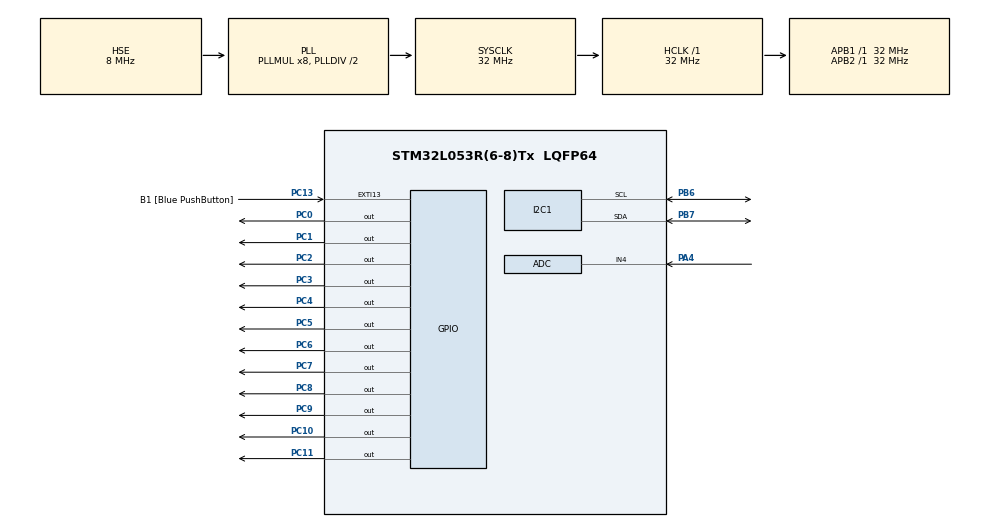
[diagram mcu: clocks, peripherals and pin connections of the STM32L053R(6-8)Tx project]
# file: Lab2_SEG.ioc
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ADC.ContinuousConvMode=ENABLE
ADC.SamplingTime=ADC_SAMPLETIME_79CYCLES_5
I2C1.Timing=0x00707CBB
Mcu.Family=STM32L0
Mcu.Name=STM32L053R(6-8)Tx
Mcu.Package=LQFP64
NVIC.TIM21_IRQn=true\:0\:0\:false\:false\:true\:true\:true\:true
PA13.GPIO_Label=TMS
PA13.Mode=Serial_Wire
PA13.Signal=SYS_SWDIO
PA14.GPIO_Label=TCK
PA14.Mode=Serial_Wire
PA14.Signal=SYS_SWCLK
PA4.Mode=IN4
PA4.Signal=ADC_IN4
PB6.GPIO_Pu=GPIO_PULLUP
PB6.Mode=I2C
PB6.Signal=I2C1_SCL
PB7.GPIO_Pu=GPIO_PULLUP
PB7.Mode=I2C
PB7.Signal=I2C1_SDA
PC0.Signal=GPIO_Output
PC1.Signal=GPIO_Output
PC10.Signal=GPIO_Output
PC11.Signal=GPIO_Output
PC13.GPIO_Label=B1 [Blue PushButton]
PC13.GPIO_ModeDefaultEXTI=GPIO_MODE_IT_FALLING
PC13.Signal=GPXTI13
PC14-OSC32_IN.Mode=LSE-External-Oscillator
PC14-OSC32_IN.Signal=RCC_OSC32_IN
PC15-OSC32_OUT.Mode=LSE-External-Oscillator
PC15-OSC32_OUT.Signal=RCC_OSC32_OUT
PC2.Signal=GPIO_Output
PC3.Signal=GPIO_Output
PC4.Signal=GPIO_Output
PC5.Signal=GPIO_Output
PC6.Signal=GPIO_Output
PC7.Signal=GPIO_Output
PC8.Signal=GPIO_Output
PC9.Signal=GPIO_Output
PH0-OSC_IN.Mode=HSE-External-Oscillator
PH0-OSC_IN.Signal=RCC_OSC_IN
PH1-OSC_OUT.Mode=HSE-External-Oscillator
PH1-OSC_OUT.Signal=RCC_OSC_OUT
ProjectManager.HeapSize=0x200
ProjectManager.StackSize=0x400
ProjectManager.TargetToolchain=MDK-ARM V5.32
RCC.AHBFreq_Value=32000000
RCC.APB1Freq_Value=32000000
RCC.APB1TimFreq_Value=32000000
RCC.APB2Freq_Value=32000000
RCC.APB2TimFreq_Value=32000000
RCC.HCLKFreq_Value=32000000
RCC.HSE_VALUE=8000000
RCC.HSI16_VALUE=16000000
RCC.HSI48_VALUE=48000000
RCC.HSI_VALUE=16000000
RCC.MSI_VALUE=2097000
RCC.PLLMUL=RCC_PLLMUL_8
RCC.PLLSourceVirtual=RCC_PLLSOURCE_HSE
RCC.SYSCLKFreq_VALUE=32000000
RCC.SYSCLKSource=RCC_SYSCLKSOURCE_PLLCLK
RCC.VCOOutputFreq_Value=64000000
TIM21.Period=100-1
TIM21.Prescaler=32-1
VP_TIM21_VS_ClockSourceINT.Mode=Internal
board=NUCLEO-L053R8

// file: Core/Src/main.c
/* USER CODE BEGIN Header */
/**
  ******************************************************************************
  * @file           : main.c
  * @brief          : Main program body
  ******************************************************************************
  * @attention
  *
  * Copyright (c) 2023 STMicroelectronics.
  * All rights reserved.
  *
  * This software is licensed under terms that can be found in the LICENSE file
  * in the root directory of this software component.
  * If no LICENSE file comes with this software, it is provided AS-IS.
  *
  ******************************************************************************
  */
/* USER CODE END Header */
#include "main.h"

/* USER CODE BEGIN Includes */
#include "IIC_1602.h"
#include <stdio.h>
/* USER CODE END Includes */

ADC_HandleTypeDef hadc;

I2C_HandleTypeDef hi2c1;

TIM_HandleTypeDef htim21;

/* USER CODE BEGIN PV */
const uint8_t TBL_7SEG[] = {0x3F,0x06,0x5B,0x4F,0x66,0x6D,0x7D,0x07,0x7F,0x6F};

volatile uint16_t  TimerCnt_Scan,TimerCnt_Lcd ;
uint8_t ScanLine;

uint16_t count1;

/* USER CODE END PV */

void SystemClock_Config(void);
static void MX_GPIO_Init(void);
static void MX_TIM21_Init(void);
static void MX_ADC_Init(void);
static void MX_I2C1_Init(void);

int main(void)
{

  /* MCU Configuration--------------------------------------------------------*/

  /* Reset of all peripherals, Initializes the Flash interface and the Systick. */
  HAL_Init();

  /* Configure the system clock */
  SystemClock_Config();

  /* Initialize all configured peripherals */
  MX_GPIO_Init();
  MX_TIM21_Init();
  MX_ADC_Init();
  MX_I2C1_Init();
  /* USER CODE BEGIN 2 */
	HAL_TIM_Base_Start_IT(&htim21);

	TimerCnt_Lcd  = 0;
	TimerCnt_Scan = 0;
	uint16_t num = 1234;
	ScanLine       = 0;

	HAL_ADCEx_Calibration_Start(&hadc,ADC_SINGLE_ENDED);
	HAL_ADC_Start(&hadc);

	Initialize_LCD(hi2c1);
	clear_LCD();

  /* USER CODE END 2 */

  /* Infinite loop */
  /* USER CODE BEGIN WHILE */
  while (1)
  {

		while(HAL_ADC_PollForConversion(&hadc,0) != HAL_OK);
		uint16_t adc_v = HAL_ADC_GetValue(&hadc);
		float voltage = (adc_v/4096.0)*3.3;
		num = voltage*10;

		if (TimerCnt_Lcd == 0) {

				TimerCnt_Lcd = 2000;

				char str1[20];

				sprintf(str1, "Voltage: %.2f", voltage);

				writes(0x80,str1);

			}
		if (TimerCnt_Scan == 0) {
			TimerCnt_Scan = 5;

			GPIOC->BRR = 0xFFF;

			switch (ScanLine) {
					case 0:
							GPIOC ->BSRR =  0b1110 <<8;  //com1 on
							GPIOC ->BSRR =  TBL_7SEG[num/1000] &0xff;
							ScanLine = 1;
							break;
					case 1:
							GPIOC ->BSRR =  0b1101 <<8;  //com2 on
							GPIOC ->BSRR =  TBL_7SEG[(num/100)%10] &0xff;
							ScanLine = 2;
							break;
					case 2:
							GPIOC ->BSRR =  0b1011 <<8;  //com3 on
							GPIOC ->BSRR =  (TBL_7SEG[(num/10)%10] |0x80) &0xff;

							ScanLine = 3;
							break;
					case 3:
							GPIOC ->BSRR =  0b0111 <<8;  //com4 on
							GPIOC ->BSRR =  TBL_7SEG[num%10] &0xff;

							ScanLine = 0;
							break;
			}

		}

    /* USER CODE END WHILE */

  }
}

void SystemClock_Config(void)
{
  RCC_OscInitTypeDef RCC_OscInitStruct = {0};
  RCC_ClkInitTypeDef RCC_ClkInitStruct = {0};
  RCC_PeriphCLKInitTypeDef PeriphClkInit = {0};

  /** Configure the main internal regulator output voltage
  */
  __HAL_PWR_VOLTAGESCALING_CONFIG(PWR_REGULATOR_VOLTAGE_SCALE1);

  /** Initializes the RCC Oscillators according to the specified parameters
  * in the RCC_OscInitTypeDef structure.
  */
  RCC_OscInitStruct.OscillatorType = RCC_OSCILLATORTYPE_HSE;
  RCC_OscInitStruct.HSEState = RCC_HSE_ON;
  RCC_OscInitStruct.PLL.PLLState = RCC_PLL_ON;
  RCC_OscInitStruct.PLL.PLLSource = RCC_PLLSOURCE_HSE;
  RCC_OscInitStruct.PLL.PLLMUL = RCC_PLLMUL_8;
  RCC_OscInitStruct.PLL.PLLDIV = RCC_PLLDIV_2;
  if (HAL_RCC_OscConfig(&RCC_OscInitStruct) != HAL_OK)
  {
    Error_Handler();
  }

  /** Initializes the CPU, AHB and APB buses clocks
  */
  RCC_ClkInitStruct.ClockType = RCC_CLOCKTYPE_HCLK|RCC_CLOCKTYPE_SYSCLK
                              |RCC_CLOCKTYPE_PCLK1|RCC_CLOCKTYPE_PCLK2;
  RCC_ClkInitStruct.SYSCLKSource = RCC_SYSCLKSOURCE_PLLCLK;
  RCC_ClkInitStruct.AHBCLKDivider = RCC_SYSCLK_DIV1;
  RCC_ClkInitStruct.APB1CLKDivider = RCC_HCLK_DIV1;
  RCC_ClkInitStruct.APB2CLKDivider = RCC_HCLK_DIV1;

  if (HAL_RCC_ClockConfig(&RCC_ClkInitStruct, FLASH_LATENCY_1) != HAL_OK)
  {
    Error_Handler();
  }
  PeriphClkInit.PeriphClockSelection = RCC_PERIPHCLK_I2C1;
  PeriphClkInit.I2c1ClockSelection = RCC_I2C1CLKSOURCE_PCLK1;
  if (HAL_RCCEx_PeriphCLKConfig(&PeriphClkInit) != HAL_OK)
  {
    Error_Handler();
  }
}

static void MX_ADC_Init(void)
{

  ADC_ChannelConfTypeDef sConfig = {0};

  /** Configure the global features of the ADC (Clock, Resolution, Data Alignment and number of conversion)
  */
  hadc.Instance = ADC1;
  hadc.Init.OversamplingMode = DISABLE;
  hadc.Init.ClockPrescaler = ADC_CLOCK_SYNC_PCLK_DIV2;
  hadc.Init.Resolution = ADC_RESOLUTION_12B;
  hadc.Init.SamplingTime = ADC_SAMPLETIME_79CYCLES_5;
  hadc.Init.ScanConvMode = ADC_SCAN_DIRECTION_FORWARD;
  hadc.Init.DataAlign = ADC_DATAALIGN_RIGHT;
  hadc.Init.ContinuousConvMode = ENABLE;
  hadc.Init.DiscontinuousConvMode = DISABLE;
  hadc.Init.ExternalTrigConvEdge = ADC_EXTERNALTRIGCONVEDGE_NONE;
  hadc.Init.ExternalTrigConv = ADC_SOFTWARE_START;
  hadc.Init.DMAContinuousRequests = DISABLE;
  hadc.Init.EOCSelection = ADC_EOC_SINGLE_CONV;
  hadc.Init.Overrun = ADC_OVR_DATA_PRESERVED;
  hadc.Init.LowPowerAutoWait = DISABLE;
  hadc.Init.LowPowerFrequencyMode = DISABLE;
  hadc.Init.LowPowerAutoPowerOff = DISABLE;
  if (HAL_ADC_Init(&hadc) != HAL_OK)
  {
    Error_Handler();
  }

  /** Configure for the selected ADC regular channel to be converted.
  */
  sConfig.Channel = ADC_CHANNEL_4;
  sConfig.Rank = ADC_RANK_CHANNEL_NUMBER;
  if (HAL_ADC_ConfigChannel(&hadc, &sConfig) != HAL_OK)
  {
    Error_Handler();
  }

}

static void MX_I2C1_Init(void)
{

  hi2c1.Instance = I2C1;
  hi2c1.Init.Timing = 0x00707CBB;
  hi2c1.Init.OwnAddress1 = 0;
  hi2c1.Init.AddressingMode = I2C_ADDRESSINGMODE_7BIT;
  hi2c1.Init.DualAddressMode = I2C_DUALADDRESS_DISABLE;
  hi2c1.Init.OwnAddress2 = 0;
  hi2c1.Init.OwnAddress2Masks = I2C_OA2_NOMASK;
  hi2c1.Init.GeneralCallMode = I2C_GENERALCALL_DISABLE;
  hi2c1.Init.NoStretchMode = I2C_NOSTRETCH_DISABLE;
  if (HAL_I2C_Init(&hi2c1) != HAL_OK)
  {
    Error_Handler();
  }

  /** Configure Analogue filter
  */
  if (HAL_I2CEx_ConfigAnalogFilter(&hi2c1, I2C_ANALOGFILTER_ENABLE) != HAL_OK)
  {
    Error_Handler();
  }

  /** Configure Digital filter
  */
  if (HAL_I2CEx_ConfigDigitalFilter(&hi2c1, 0) != HAL_OK)
  {
    Error_Handler();
  }

}

static void MX_TIM21_Init(void)
{

  TIM_ClockConfigTypeDef sClockSourceConfig = {0};
  TIM_MasterConfigTypeDef sMasterConfig = {0};

  htim21.Instance = TIM21;
  htim21.Init.Prescaler = 32-1;
  htim21.Init.CounterMode = TIM_COUNTERMODE_UP;
  htim21.Init.Period = 100-1;
  htim21.Init.ClockDivision = TIM_CLOCKDIVISION_DIV1;
  htim21.Init.AutoReloadPreload = TIM_AUTORELOAD_PRELOAD_DISABLE;
  if (HAL_TIM_Base_Init(&htim21) != HAL_OK)
  {
    Error_Handler();
  }
  sClockSourceConfig.ClockSource = TIM_CLOCKSOURCE_INTERNAL;
  if (HAL_TIM_ConfigClockSource(&htim21, &sClockSourceConfig) != HAL_OK)
  {
    Error_Handler();
  }
  sMasterConfig.MasterOutputTrigger = TIM_TRGO_RESET;
  sMasterConfig.MasterSlaveMode = TIM_MASTERSLAVEMODE_DISABLE;
  if (HAL_TIMEx_MasterConfigSynchronization(&htim21, &sMasterConfig) != HAL_OK)
  {
    Error_Handler();
  }

}

static void MX_GPIO_Init(void)
{
  GPIO_InitTypeDef GPIO_InitStruct = {0};

  /* GPIO Ports Clock Enable */
  __HAL_RCC_GPIOC_CLK_ENABLE();
  __HAL_RCC_GPIOH_CLK_ENABLE();
  __HAL_RCC_GPIOA_CLK_ENABLE();
  __HAL_RCC_GPIOB_CLK_ENABLE();

  /*Configure GPIO pin Output Level */
  HAL_GPIO_WritePin(GPIOC, GPIO_PIN_0|GPIO_PIN_1|GPIO_PIN_2|GPIO_PIN_3
                          |GPIO_PIN_4|GPIO_PIN_5|GPIO_PIN_6|GPIO_PIN_7
                          |GPIO_PIN_8|GPIO_PIN_9|GPIO_PIN_10|GPIO_PIN_11, GPIO_PIN_RESET);

  /*Configure GPIO pin : B1_Pin */
  GPIO_InitStruct.Pin = B1_Pin;
  GPIO_InitStruct.Mode = GPIO_MODE_IT_FALLING;
  GPIO_InitStruct.Pull = GPIO_NOPULL;
  HAL_GPIO_Init(B1_GPIO_Port, &GPIO_InitStruct);

  /*Configure GPIO pins : PC0 PC1 PC2 PC3
                           PC4 PC5 PC6 PC7
                           PC8 PC9 PC10 PC11 */
  GPIO_InitStruct.Pin = GPIO_PIN_0|GPIO_PIN_1|GPIO_PIN_2|GPIO_PIN_3
                          |GPIO_PIN_4|GPIO_PIN_5|GPIO_PIN_6|GPIO_PIN_7
                          |GPIO_PIN_8|GPIO_PIN_9|GPIO_PIN_10|GPIO_PIN_11;
  GPIO_InitStruct.Mode = GPIO_MODE_OUTPUT_PP;
  GPIO_InitStruct.Pull = GPIO_NOPULL;
  GPIO_InitStruct.Speed = GPIO_SPEED_FREQ_LOW;
  HAL_GPIO_Init(GPIOC, &GPIO_InitStruct);

}

/* USER CODE BEGIN 4 */
void HAL_TIM_PeriodElapsedCallback(TIM_HandleTypeDef *htim)
{
	 if(htim->Instance == htim21.Instance){
		 if(TimerCnt_Scan>0)
				TimerCnt_Scan--;
		 if(TimerCnt_Lcd>0)
				TimerCnt_Lcd--;
 }
}
/* USER CODE END 4 */

void Error_Handler(void)
{
  __disable_irq();
  while (1)
  {
  }
}
